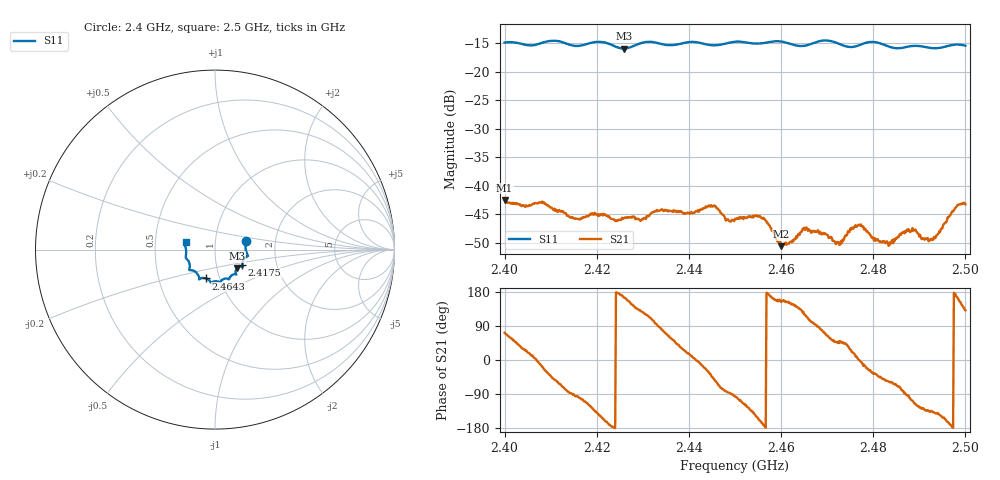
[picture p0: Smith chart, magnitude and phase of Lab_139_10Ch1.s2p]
# Hz S RI R 50
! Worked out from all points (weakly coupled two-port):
!   601 points, 2.4 GHz to 2.5 GHz, reference 50 ohm
!   highest |S21| = -42.50 dB at 2.4 GHz (marker M1); lowest = -50.6 dB at 2.46 GHz (marker M2)
!   lowest |S11| = -15.9 dB at 2.4258 GHz (marker M3), VSWR 1.38, Z = 62.3 - j13.2 ohm
!   |S11| at or under -10 dB: start of sweep to end of sweep
!   S12 and S22 are empty: the file has one direction only
!   S11 on the Smith chart (normalised r, x): 2.4 GHz: 1.41, +0.14; 2.4175 GHz: 1.34, -0.23; 2.4643 GHz: 0.86, -0.28; 2.5 GHz: 0.72, +0.06
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2.4e9  0.1735 0.0492  0.00232 0.00713  0 0  0 0
2.408e9  0.1775 -0.0206  0.00685 -0.00182  0 0  0 0
2.416667e9  0.1529 -0.0742  -0.00125 -0.00497  0 0  0 0
2.4175e9  0.152 -0.0839  -0.00177 -0.00499  0 0  0 0
2.425833e9  0.1217 -0.1034  -0.00499 0.00125  0 0  0 0
2.429833e9  0.117 -0.136  -0.00309 0.00403  0 0  0 0
2.433333e9  0.1135 -0.137  4.35e-05 0.00602  0 0  0 0
2.440667e9  0.0779 -0.1655  0.00568 0.00104  0 0  0 0
2.445333e9  0.0527 -0.1621  0.00436 -0.005  0 0  0 0
2.4485e9  0.033 -0.1758  0.00039 -0.00504  0 0  0 0
2.45e9  0.0289 -0.1811  -0.000523 -0.00511  0 0  0 0
2.455833e9  -0.00512 -0.1777  -0.00504 -0.00121  0 0  0 0
2.46e9  -0.0246 -0.1827  -0.00262 0.00134  0 0  0 0
2.464333e9  -0.0498 -0.1606  -0.00266 0.00291  0 0  0 0
2.466667e9  -0.076 -0.159  -0.000733 0.00381  0 0  0 0
2.472333e9  -0.0887 -0.1537  0.00225 0.00222  0 0  0 0
2.477167e9  -0.1282 -0.1153  0.00445 -0.000229  0 0  0 0
2.483333e9  -0.1406 -0.0897  0.00161 -0.00249  0 0  0 0
2.488667e9  -0.1619 -0.0465  -0.00132 -0.00381  0 0  0 0
2.4925e9  -0.1605 -0.0201  -0.00239 -0.00243  0 0  0 0
2.498167e9  -0.1701 0.0335  -0.00644 0.00161  0 0  0 0
2.5e9  -0.1638 0.0428  -0.00451 0.00516  0 0  0 0
